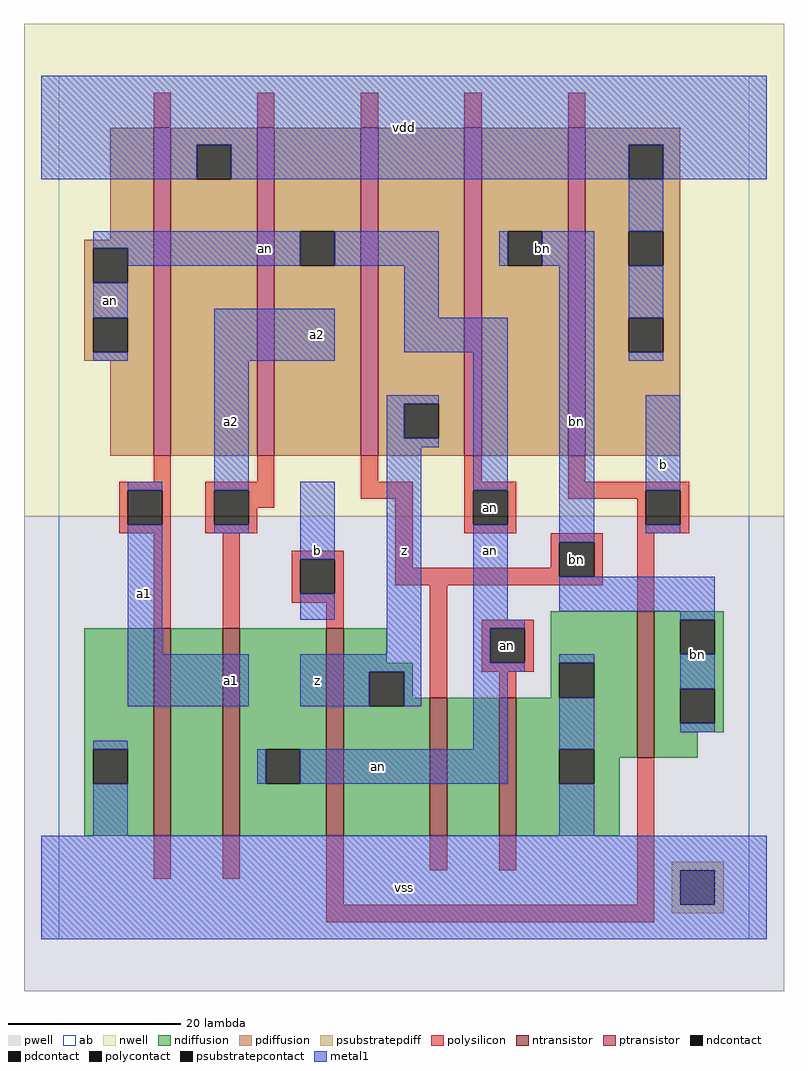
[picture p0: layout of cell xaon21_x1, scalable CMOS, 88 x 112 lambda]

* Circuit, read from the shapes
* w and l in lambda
.subckt xaon21_x1 a1 a2 an b bn vdd vss z
M1 n1 a1 vss vss nfet w=24 l=2
M2 an a2 n1 vss nfet w=24 l=2
M3 z b an vss nfet w=24 l=2
M4 n2 bn z vss nfet w=16 l=2
M5 vss an n2 vss nfet w=16 l=2
M6 bn b vss vss nfet w=17 l=2
M7 vdd a1 an n3 pfet w=38 l=2
M8 an a2 vdd n3 pfet w=38 l=2
M9 z bn an n3 pfet w=38 l=2
M10 bn an z n3 pfet w=38 l=2
M11 vdd b bn n3 pfet w=38 l=2
.ends

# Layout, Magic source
magic
tech scmos
<< ab >>
rect 0 0 80 100
<< pwell >>
rect -4 -6 84 49
<< nwell >>
rect -4 49 84 106
<< polysilicon >>
rect 11 94 13 98
rect 23 94 25 98
rect 35 94 37 98
rect 47 94 49 98
rect 59 94 61 98
rect 11 53 13 56
rect 23 53 25 56
rect 7 52 13 53
rect 7 48 8 52
rect 12 48 13 52
rect 7 47 13 48
rect 17 52 25 53
rect 17 48 18 52
rect 22 50 25 52
rect 35 53 37 56
rect 47 53 49 56
rect 59 53 61 56
rect 35 51 41 53
rect 22 48 23 50
rect 17 47 23 48
rect 11 36 13 47
rect 19 36 21 47
rect 27 44 33 45
rect 27 40 28 44
rect 32 40 33 44
rect 39 43 41 51
rect 47 52 53 53
rect 47 48 48 52
rect 52 48 53 52
rect 59 52 73 53
rect 59 51 68 52
rect 47 47 53 48
rect 67 48 68 51
rect 72 48 73 52
rect 67 47 73 48
rect 57 46 63 47
rect 57 43 58 46
rect 39 42 58 43
rect 62 42 63 46
rect 39 41 63 42
rect 27 39 33 40
rect 31 36 33 39
rect 43 28 45 41
rect 67 38 69 47
rect 49 36 55 37
rect 49 32 50 36
rect 54 32 55 36
rect 49 31 55 32
rect 51 28 53 31
rect 11 7 13 12
rect 19 7 21 12
rect 31 4 33 12
rect 43 8 45 12
rect 51 8 53 12
rect 67 4 69 21
rect 31 2 69 4
<< ndiffusion >>
rect 3 22 11 36
rect 3 18 4 22
rect 8 18 11 22
rect 3 12 11 18
rect 13 12 19 36
rect 21 22 31 36
rect 21 18 24 22
rect 28 18 31 22
rect 21 12 31 18
rect 33 32 38 36
rect 33 31 41 32
rect 33 27 36 31
rect 40 28 41 31
rect 57 32 67 38
rect 57 28 58 32
rect 62 28 67 32
rect 40 27 43 28
rect 33 12 43 27
rect 45 12 51 28
rect 53 22 67 28
rect 53 18 58 22
rect 62 21 67 22
rect 69 37 77 38
rect 69 33 72 37
rect 76 33 77 37
rect 69 29 77 33
rect 69 25 72 29
rect 76 25 77 29
rect 69 24 77 25
rect 69 21 74 24
rect 62 18 65 21
rect 53 12 65 18
<< pdiffusion >>
rect 6 81 11 94
rect 3 80 11 81
rect 3 76 4 80
rect 8 76 11 80
rect 3 72 11 76
rect 3 68 4 72
rect 8 68 11 72
rect 3 67 11 68
rect 6 56 11 67
rect 13 92 23 94
rect 13 88 16 92
rect 20 88 23 92
rect 13 56 23 88
rect 25 82 35 94
rect 25 78 28 82
rect 32 78 35 82
rect 25 56 35 78
rect 37 62 47 94
rect 37 58 40 62
rect 44 58 47 62
rect 37 56 47 58
rect 49 82 59 94
rect 49 78 52 82
rect 56 78 59 82
rect 49 56 59 78
rect 61 92 72 94
rect 61 88 66 92
rect 70 88 72 92
rect 61 82 72 88
rect 61 78 66 82
rect 70 78 72 82
rect 61 72 72 78
rect 61 68 66 72
rect 70 68 72 72
rect 61 56 72 68
<< metal1 >>
rect -2 92 82 100
rect -2 88 16 92
rect 20 88 66 92
rect 70 88 82 92
rect 66 82 70 88
rect 4 80 28 82
rect 8 78 28 80
rect 32 78 44 82
rect 51 78 52 82
rect 56 78 62 82
rect 4 72 8 76
rect 4 67 8 68
rect 18 67 32 73
rect 40 72 44 78
rect 40 68 52 72
rect 8 52 12 53
rect 8 33 12 48
rect 18 52 22 67
rect 38 62 44 63
rect 38 58 40 62
rect 38 57 44 58
rect 18 47 22 48
rect 28 44 32 53
rect 28 37 32 40
rect 38 33 42 57
rect 8 27 22 33
rect 28 31 42 33
rect 28 27 36 31
rect 40 27 42 31
rect 48 52 52 68
rect 48 37 52 48
rect 58 46 62 78
rect 66 72 70 78
rect 66 67 70 68
rect 68 52 72 63
rect 68 47 72 48
rect 58 38 76 42
rect 72 37 76 38
rect 48 36 54 37
rect 48 32 50 36
rect 48 31 54 32
rect 58 32 62 33
rect 4 22 8 23
rect 48 22 52 31
rect 23 18 24 22
rect 28 18 52 22
rect 58 22 62 28
rect 72 29 76 33
rect 72 24 76 25
rect 4 12 8 18
rect 58 12 62 18
rect -2 0 82 12
<< ntransistor >>
rect 11 12 13 36
rect 19 12 21 36
rect 31 12 33 36
rect 43 12 45 28
rect 51 12 53 28
rect 67 21 69 38
<< ptransistor >>
rect 11 56 13 94
rect 23 56 25 94
rect 35 56 37 94
rect 47 56 49 94
rect 59 56 61 94
<< polycontact >>
rect 8 48 12 52
rect 18 48 22 52
rect 28 40 32 44
rect 48 48 52 52
rect 68 48 72 52
rect 58 42 62 46
rect 50 32 54 36
<< ndcontact >>
rect 4 18 8 22
rect 24 18 28 22
rect 36 27 40 31
rect 58 28 62 32
rect 58 18 62 22
rect 72 33 76 37
rect 72 25 76 29
<< pdcontact >>
rect 4 76 8 80
rect 4 68 8 72
rect 16 88 20 92
rect 28 78 32 82
rect 40 58 44 62
rect 52 78 56 82
rect 66 88 70 92
rect 66 78 70 82
rect 66 68 70 72
<< psubstratepcontact >>
rect 72 4 76 8
<< psubstratepdiff >>
rect 71 8 77 9
rect 71 4 72 8
rect 76 4 77 8
rect 71 3 77 4
<< labels >>
rlabel polycontact 52 34 52 34 6 an
rlabel polycontact 50 50 50 50 6 an
rlabel polycontact 60 44 60 44 6 bn
rlabel metal1 10 40 10 40 6 a1
rlabel metal1 10 40 10 40 6 a1
rlabel metal1 6 74 6 74 6 an
rlabel metal1 20 30 20 30 6 a1
rlabel metal1 20 30 20 30 6 a1
rlabel metal1 20 60 20 60 6 a2
rlabel metal1 20 60 20 60 6 a2
rlabel metal1 40 6 40 6 6 vss
rlabel metal1 40 6 40 6 6 vss
rlabel metal1 30 30 30 30 6 z
rlabel metal1 30 30 30 30 6 z
rlabel metal1 30 45 30 45 6 b
rlabel metal1 30 45 30 45 6 b
rlabel metal1 40 45 40 45 6 z
rlabel metal1 40 45 40 45 6 z
rlabel metal1 30 70 30 70 6 a2
rlabel metal1 30 70 30 70 6 a2
rlabel metal1 24 80 24 80 6 an
rlabel metal1 40 94 40 94 6 vdd
rlabel metal1 40 94 40 94 6 vdd
rlabel metal1 37 20 37 20 6 an
rlabel metal1 50 45 50 45 6 an
rlabel metal1 56 80 56 80 6 bn
rlabel metal1 60 60 60 60 6 bn
rlabel metal1 74 33 74 33 6 bn
rlabel metal1 70 55 70 55 6 b
rlabel metal1 70 55 70 55 6 b
<< end >>
